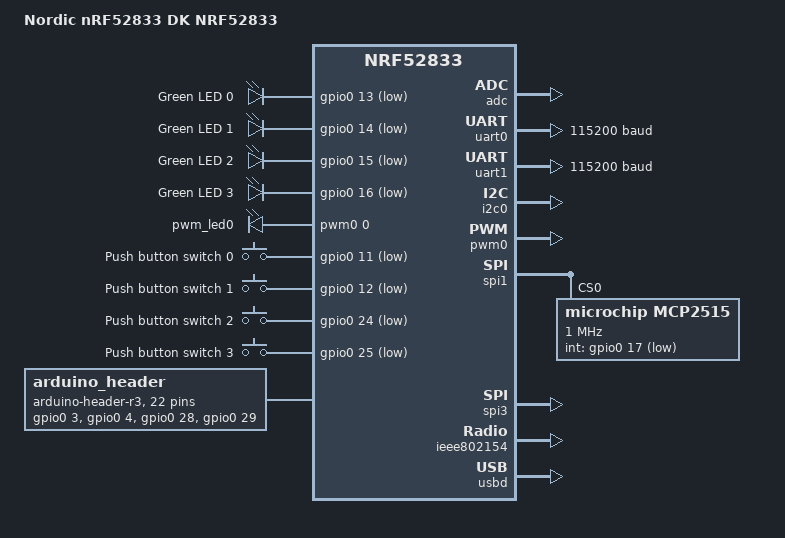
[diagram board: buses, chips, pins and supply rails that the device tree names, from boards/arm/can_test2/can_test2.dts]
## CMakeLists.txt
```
# SPDX-License-Identifier: Apache-2.0

cmake_minimum_required(VERSION 3.20.0)

set(BOARD_ROOT ${CMAKE_CURRENT_SOURCE_DIR})
set(BOARD can_test)


find_package(Zephyr REQUIRED HINTS $ENV{ZEPHYR_BASE})
project(CAN)

target_sources(app PRIVATE src/main.c)
```

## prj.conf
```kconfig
CONFIG_POLL=y
CONFIG_CAN=y
CONFIG_CAN_INIT_PRIORITY=80
CONFIG_CAN_MAX_FILTER=5

CONFIG_SHELL=y
CONFIG_CAN_SHELL=y
CONFIG_DEVICE_SHELL=y
CONFIG_SHELL_ARGC_MAX=13

CONFIG_GPIO=y
CONFIG_STATS=y
CONFIG_STATS_NAMES=y
CONFIG_STATS_SHELL=y
CONFIG_CAN_STATS=y

CONFIG_SPI=y
CONFIG_CAN_MCP2515=y

#Shell
CONFIG_SHELL_LOG_BACKEND=y
CONFIG_SHELL_BACKENDS=y
CONFIG_SHELL_BACKEND_RTT=y
CONFIG_SHELL_BACKEND_SERIAL_RX_RING_BUFFER_SIZE=512


#Logging
CONFIG_LOG=y
CONFIG_CONSOLE=y
CONFIG_UART_CONSOLE=y
CONFIG_LOG_DEFAULT_LEVEL=3
CONFIG_USE_SEGGER_RTT=y
CONFIG_LOG_BACKEND_RTT=n
CONFIG_LOG_PROCESS_THREAD_SLEEP_MS=100
CONFIG_RTT_CONSOLE=y

CONFIG_ASSERT=y
CONFIG_RESET_ON_FATAL_ERROR=y

CONFIG_CAN_LOG_LEVEL_DBG=y

CONFIG_CAN_LOOPBACK=n

CONFIG_GPIO_SHELL=y

CONFIG_NFCT_PINS_AS_GPIOS=y
```

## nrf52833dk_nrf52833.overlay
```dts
// To get started, press Ctrl+Space to bring up the completion menu and view the available nodes.

// You can also use the buttons in the sidebar to perform actions on nodes.
// Actions currently available include:

// * Enabling / disabling the node
// * Adding the bus to a bus
// * Removing the node
// * Connecting ADC channels

// For more help, browse the DeviceTree documentation at https://docs.zephyrproject.org/latest/guides/dts/index.html
// You can also visit the nRF DeviceTree extension documentation at https://nrfconnect.github.io/vscode-nrf-connect/devicetree/nrfdevicetree.html

/ {
	chosen {
    zephyr,canbus = &mcp2515;
	};
};

&uart1 {
  compatible = "nordic,nrf-uarte";
	status = "disabled";
};

&i2c1 {
  compatible = "nordic,nrf-twim";
	status = "disabled";
};

&spi1 {
	compatible = "nordic,nrf-spim";
	status = "okay";
  sck-pin = <28>;
  miso-pin = <30>;
  mosi-pin = <29>;
    cs-gpios = <&gpio0 31 GPIO_ACTIVE_LOW>;

  mcp2515: can@0 {
		compatible = "microchip,mcp2515";
		spi-max-frequency = <1000000>;
		//int-gpios = <&arduino_header 8 GPIO_ACTIVE_LOW>; /* D2 */
    //int-gpios = <&gpio0 10 GPIO_ACTIVE_LOW>;
    int-gpios = <&gpio0 17 GPIO_ACTIVE_LOW>;
		status = "okay";
		label = "MCP2515";
		reg = <0x0>;
		osc-freq = <16000000>;
		bus-speed = <125000>;
		sjw = <1>;
		sample-point = <875>;
	};
};
```

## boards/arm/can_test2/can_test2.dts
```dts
/*
 * Copyright (c) 2019 Nordic Semiconductor ASA
 *
 * SPDX-License-Identifier: Apache-2.0
 */

/dts-v1/;
#include <nordic/nrf52833_qiaa.dtsi>
#include "can_test2-pinctrl.dtsi"

/ {
	model = "Nordic nRF52833 DK NRF52833";
	compatible = "nordic,nrf52833-dk-nrf52833";

	chosen {
		zephyr,console = &uart0;
		zephyr,shell-uart = &uart0;
		zephyr,uart-mcumgr = &uart0;
		zephyr,bt-mon-uart = &uart0;
		zephyr,bt-c2h-uart = &uart0;
		zephyr,sram = &sram0;
		zephyr,flash = &flash0;
		zephyr,code-partition = &slot0_partition;
		zephyr,ieee802154 = &ieee802154;
	};

	leds {
		compatible = "gpio-leds";
		led0: led_0 {
			gpios = <&gpio0 13 GPIO_ACTIVE_LOW>;
			label = "Green LED 0";
		};
		led1: led_1 {
			gpios = <&gpio0 14 GPIO_ACTIVE_LOW>;
			label = "Green LED 1";
		};
		led2: led_2 {
			gpios = <&gpio0 15 GPIO_ACTIVE_LOW>;
			label = "Green LED 2";
		};
		led3: led_3 {
			gpios = <&gpio0 16 GPIO_ACTIVE_LOW>;
			label = "Green LED 3";
		};
	};

	pwmleds {
		compatible = "pwm-leds";
		pwm_led0: pwm_led_0 {
			pwms = <&pwm0 0 PWM_MSEC(20) PWM_POLARITY_INVERTED>;
		};
	};

	buttons {
		compatible = "gpio-keys";
		button0: button_0 {
			gpios = <&gpio0 11 (GPIO_PULL_UP | GPIO_ACTIVE_LOW)>;
			label = "Push button switch 0";
		};
		button1: button_1 {
			gpios = <&gpio0 12 (GPIO_PULL_UP | GPIO_ACTIVE_LOW)>;
			label = "Push button switch 1";
		};
		button2: button_2 {
			gpios = <&gpio0 24 (GPIO_PULL_UP | GPIO_ACTIVE_LOW)>;
			label = "Push button switch 2";
		};
		button3: button_3 {
			gpios = <&gpio0 25 (GPIO_PULL_UP | GPIO_ACTIVE_LOW)>;
			label = "Push button switch 3";
		};
	};

	arduino_header: connector {
		compatible = "arduino-header-r3";
		#gpio-cells = <2>;
		gpio-map-mask = <0xffffffff 0xffffffc0>;
		gpio-map-pass-thru = <0 0x3f>;
		gpio-map = <0 0 &gpio0 3 0>,
             <1 0 &gpio0 4 0>,
             <2 0 &gpio0 28 0>,
             <3 0 &gpio0 29 0>,
             <4 0 &gpio0 30 0>,
             <5 0 &gpio0 31 0>,
             <6 0 &gpio1 1 0>,
             <7 0 &gpio1 2 0>,
             <8 0 &gpio1 3 0>,
             <9 0 &gpio1 4 0>,
             <10 0 &gpio1 5 0>,
             <11 0 &gpio1 6 0>,
             <12 0 &gpio1 7 0>,
             <13 0 &gpio1 8 0>,
             <14 0 &gpio0 17 0>,
             <15 0 &gpio0 19 0>,
             <16 0 &gpio0 20 0>,
             <17 0 &gpio0 21 0>,
             <18 0 &gpio0 22 0>,
             <19 0 &gpio0 23 0>,
             <20 0 &gpio0 26 0>,
             <21 0 &gpio0 27 0>;	/* D15 */
	};

	/* These aliases are provided for compatibility with samples */
	aliases {
		led0 = &led0;
		led1 = &led1;
		led2 = &led2;
		led3 = &led3;
		pwm-led0 = &pwm_led0;
		sw0 = &button0;
		sw1 = &button1;
		sw2 = &button2;
		sw3 = &button3;
		bootloader-led0 = &led0;
		mcuboot-button0 = &button0;
		mcuboot-led0 = &led0;
		watchdog0 = &wdt0;
	};
};

&adc {
	status = "okay";
};

&gpiote {
	status = "okay";
};

&gpio0 {
	status = "okay";
};

&gpio1 {
	status = "okay";
};

&uart0 {
	compatible = "nordic,nrf-uarte";
	status = "okay";
	current-speed = <115200>;
	pinctrl-0 = <&uart0_default>;
	pinctrl-1 = <&uart0_sleep>;
	pinctrl-names = "default", "sleep";
};

arduino_serial: &uart1 {
	status = "okay";
	current-speed = <115200>;
	pinctrl-0 = <&uart1_default>;
	pinctrl-1 = <&uart1_sleep>;
	pinctrl-names = "default", "sleep";
};

arduino_i2c: &i2c0 {
	compatible = "nordic,nrf-twi";
	status = "okay";
	pinctrl-0 = <&i2c0_default>;
	pinctrl-1 = <&i2c0_sleep>;
	pinctrl-names = "default", "sleep";
};

&i2c1 {
	compatible = "nordic,nrf-twi";
	/* Cannot be used together with spi1. */
	/* status = "okay"; */
	pinctrl-0 = <&i2c1_default>;
	pinctrl-1 = <&i2c1_sleep>;
	pinctrl-names = "default", "sleep";
};

&pwm0 {
	status = "okay";
	pinctrl-0 = <&pwm0_default>;
	pinctrl-1 = <&pwm0_sleep>;
	pinctrl-names = "default", "sleep";
};

&spi0 {
	compatible = "nordic,nrf-spi";
	/* Cannot be used together with i2c0. */
	/* status = "okay"; */
	pinctrl-0 = <&spi0_default>;
	pinctrl-1 = <&spi0_sleep>;
	pinctrl-names = "default", "sleep";
};

&spi1 {
	compatible = "nordic,nrf-spim";
	status = "okay";
	pinctrl-0 = <&spi1_default>;
	pinctrl-1 = <&spi1_sleep>;
	pinctrl-names = "default", "sleep";
	
	mcp2515: can@0 {
		compatible = "microchip,mcp2515";
		spi-max-frequency = <1000000>;
		//int-gpios = <&arduino_header 8 GPIO_ACTIVE_LOW>; /* D2 */
    //int-gpios = <&gpio0 10 GPIO_ACTIVE_LOW>;
    int-gpios = <&gpio0 17 GPIO_ACTIVE_LOW>;
		status = "okay";
		label = "MCP2515";
		reg = <0x0>;
		osc-freq = <16000000>;
		bus-speed = <125000>;
		sjw = <1>;
		sample-point = <875>;
	};
};

arduino_spi: &spi3 {
	status = "okay";
	cs-gpios = <&arduino_header 16 GPIO_ACTIVE_LOW>; /* D10 */
	pinctrl-0 = <&spi3_default>;
	pinctrl-1 = <&spi3_sleep>;
	pinctrl-names = "default", "sleep";
};

&ieee802154 {
	status = "okay";
};

&flash0 {

	partitions {
		compatible = "fixed-partitions";
		#address-cells = <1>;
		#size-cells = <1>;

		boot_partition: partition@0 {
			label = "mcuboot";
			reg = <0x00000000 0xC000>;
		};
		slot0_partition: partition@c000 {
			label = "image-0";
			reg = <0x0000C000 0x32000>;
		};
		slot1_partition: partition@3e000 {
			label = "image-1";
			reg = <0x0003E000 0x32000>;
		};
		scratch_partition: partition@70000 {
			label = "image-scratch";
			reg = <0x00070000 0xA000>;
		};
		storage_partition: partition@7a000 {
			label = "storage";
			reg = <0x0007A000 0x00006000>;
		};
	};
};

zephyr_udc0: &usbd {
	compatible = "nordic,nrf-usbd";
	status = "okay";
};
```

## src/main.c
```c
/*
 * Copyright (c) 2018 Alexander Wachter
 *
 * SPDX-License-Identifier: Apache-2.0
 */

#include <logging/log.h>
#include <zephyr.h>
#include <kernel.h>
#include <sys/printk.h>
#include <device.h>
#include <drivers/can.h>
#include <drivers/gpio.h>
#include <sys/byteorder.h>
#include <nrfx_gpiote.h>

LOG_MODULE_REGISTER(MAIN, LOG_LEVEL_INF);

void main(void)
{
  //Pincontrol for tacho 3.2
  nrf_gpio_cfg_output(9U); //Standby pin
  nrf_gpio_cfg_output(10U); //LED
  nrf_gpio_pin_set(9U);
  nrf_gpio_pin_clear(10U);

	while (1) {
    /*
		change_led_frame.data[0] = toggle++ & 0x01 ? SET_LED : RESET_LED;
		// This sending call is none blocking.
		can_send(can_dev, &change_led_frame, K_FOREVER,
			 tx_irq_callback,
			 "LED change");
		k_sleep(SLEEP_TIME);

		UNALIGNED_PUT(sys_cpu_to_be16(counter),
			      (uint16_t *)&counter_frame.data[0]);
		counter++;
		// This sending call is blocking until the message is sent.
    LOG_INF("Ello?");
    k_sleep(K_MSEC(500));
		int err = can_send(can_dev, &counter_frame, K_MSEC(100), NULL, NULL);
    LOG_WRN("can_send: %d", err);
    */
		k_sleep(K_MSEC(10000));
    LOG_INF("Main loop");
	}
}
```
